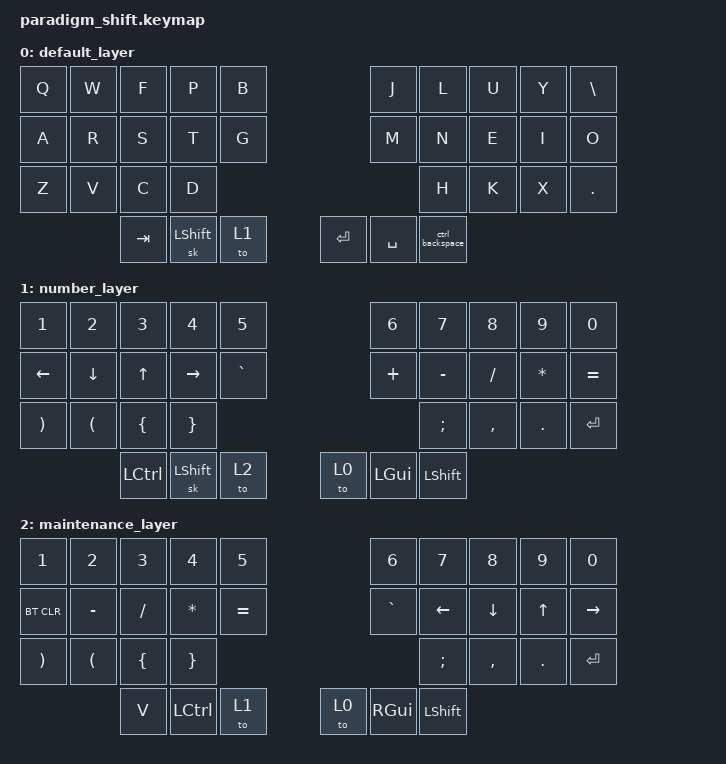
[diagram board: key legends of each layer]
/*
 * Copyright (c) 2020 The ZMK Contributors
 *
 * SPDX-License-Identifier: MIT
 */

#include <behaviors.dtsi>
#include <dt-bindings/zmk/keys.h>
#include <dt-bindings/zmk/bt.h>

&sk {
    quick-release;
    /delete-property/ ignore-modifiers;
  };

&mt {
  //  flavor = "tap-preferred";
   // tapping_term_ms = <200>;
};

/ {
    macros {
        ctrl_backspace: ctrl_backspace {
            label = "CTRL_BSPC";
            compatible = "zmk,behavior-macro";
            #binding-cells = <0>;
			wait-ms = <10>;
            bindings
                = <&macro_press &kp LCTRL>
                , <&macro_tap &kp BSPC>
                , <&macro_release &kp LCTRL>
                ;
        };
    };
};

/  {
        keymap {
                compatible = "zmk,keymap";
                
       		default_layer {
		bindings = <
		&kp Q &kp W &kp F &kp P &kp B   						&kp J &kp L    &kp U    &kp Y   &kp BSLH
		&kp A &kp R &kp S &kp T &kp G   			      &kp M &kp N    &kp E    &kp I   &kp O 
		&kp Z &kp V &kp C &kp D 			  	        	      &kp H    &kp K    &kp X   &kp DOT
          			&kp TAB &sk LSHFT &to 1 			&kp RET &kp SPC &ctrl_backspace 
		>;
		};

          	number_layer {
		bindings = <
		&kp NUM_1  &kp NUM_2    &kp NUM_3    &kp NUM_4    &kp NUM_5		&kp NUM_6 &kp NUM_7 &kp NUM_8 &kp NUM_9 &kp NUM_0
		&kp LEFT &kp DOWN &kp UP  &kp RIGHT  &kp GRAVE  		&kp PLUS &kp MINUS &kp SLASH &kp STAR &kp EQUAL
		&kp RPAR &kp LPAR &kp LBRC &kp RBRC 				        	      &kp SEMI &kp CMMA &kp DOT &kp RET
          			&kp LCTRL &sk LSHFT &to 2		&to 0 &kp LGUI &kp LSHFT
		>;
		};

            maintenance_layer {
		bindings = <
		&kp NUM_1  &kp NUM_2    &kp NUM_3    &kp NUM_4    &kp NUM_5		&kp NUM_6 &kp NUM_7 &kp NUM_8 &kp NUM_9 &kp NUM_0
		&bt BT_CLR &kp MINUS &kp SLASH &kp STAR &kp EQUAL 			      &kp GRAVE &kp LEFT &kp DOWN &kp UP  &kp RIGHT
		&kp RPAR &kp LPAR &kp LBRC &kp RBRC 				        	      &kp SEMI &kp CMMA &kp DOT &kp RET
          			&kp V &kp LCTRL &to 1		&to 0 &kp RGUI &kp LSHFT
		>;
		};

		};	
        
};
